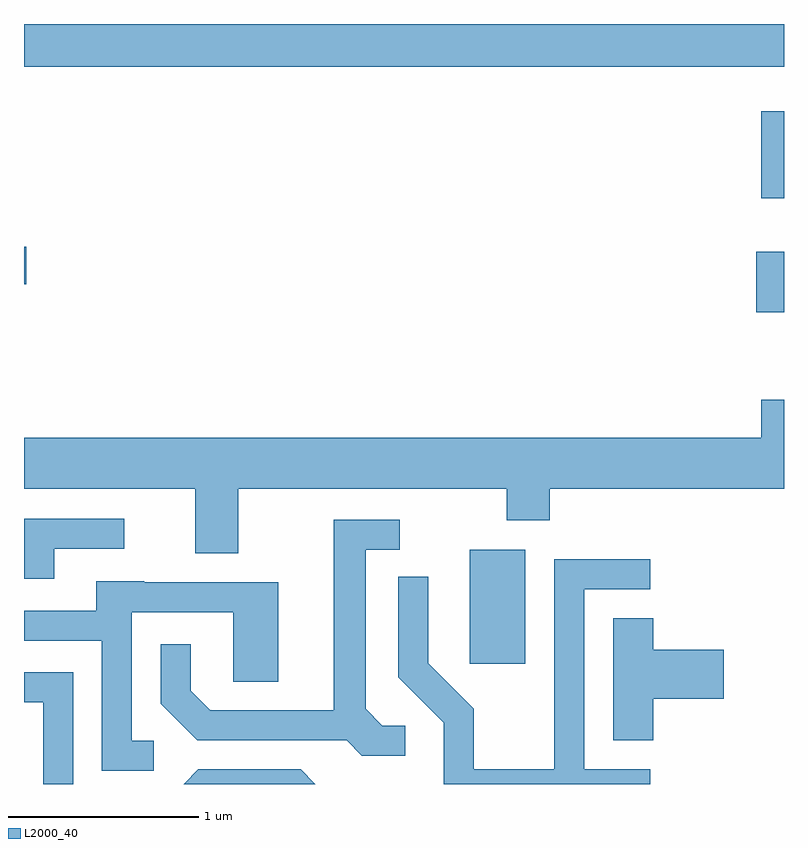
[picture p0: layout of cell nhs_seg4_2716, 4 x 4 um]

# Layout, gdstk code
import gdstk
lib = gdstk.Library(unit=1e-6, precision=1e-09)
def R(c, l, rs):  # rectangles x0, y0, x1, y1
    for r in rs: c.add(gdstk.rectangle(r[:2], r[2:], *l))
def P(c, l, *ps):  # polygons
    for p in ps: c.add(gdstk.Polygon(p, *l))
L2000_40 = (2000, 40)

nhs_seg4_2716 = lib.new_cell('nhs_seg4_2716')
R(nhs_seg4_2716, L2000_40, [(265.956,1382.616,266.249,1383.214), (267.466,1384.466,267.611,1384.784), (263.611,1384.611,263.624,1384.809), (267.491,1385.066,267.611,1385.524), (263.611,1385.756,267.611,1385.982)])
P(nhs_seg4_2716, L2000_40, [(264.739,1383.536),(266.151,1383.536),(266.151,1383.371),(266.379,1383.371),(266.379,1383.536),(267.611,1383.536),(267.611,1384.004),(267.491,1384.004),(267.491,1383.804),(263.611,1383.804),(263.611,1383.536),(264.511,1383.536),(264.511,1383.196),(264.739,1383.196)],
  [(263.769,1383.221),(264.138,1383.221),(264.138,1383.379),(263.611,1383.379),(263.611,1383.061),(263.769,1383.061)],
  [(265.618,1382.289),(265.497,1382.289),(265.409,1382.377),(265.409,1383.216),(265.588,1383.216),(265.588,1383.374),(265.241,1383.374),(265.241,1382.369),(264.592,1382.369),(264.489,1382.472),(264.489,1382.718),(264.331,1382.718),(264.331,1382.404),(264.524,1382.211),(265.309,1382.211),(265.389,1382.131),(265.618,1382.131)],
  [(266.908,1382.059),(266.559,1382.059),(266.559,1383.006),(266.908,1383.006),(266.908,1383.164),(266.401,1383.164),(266.401,1382.059),(265.979,1382.059),(265.979,1382.377),(265.739,1382.617),(265.739,1383.073),(265.581,1383.073),(265.581,1382.544),(265.821,1382.304),(265.821,1381.982),(266.908,1381.982)],
  [(264.293,1382.209),(264.179,1382.209),(264.179,1382.886),(264.711,1382.886),(264.711,1382.521),(264.949,1382.521),(264.949,1383.044),(264.245,1383.044),(264.245,1383.049),(263.991,1383.049),(263.991,1382.894),(263.611,1382.894),(263.611,1382.736),(264.021,1382.736),(264.021,1382.051),(264.293,1382.051)],
  [(266.924,1382.431),(267.294,1382.431),(267.294,1382.689),(266.924,1382.689),(266.924,1382.854),(266.711,1382.854),(266.711,1382.211),(266.924,1382.211)],
  [(263.869,1382.569),(263.611,1382.569),(263.611,1382.411),(263.711,1382.411),(263.711,1381.982),(263.869,1381.982)],
  [(265.067,1382.059),(264.529,1382.059),(264.452,1381.982),(265.144,1381.982)])

lib.write_gds('nhs_seg4_2716.gds')
